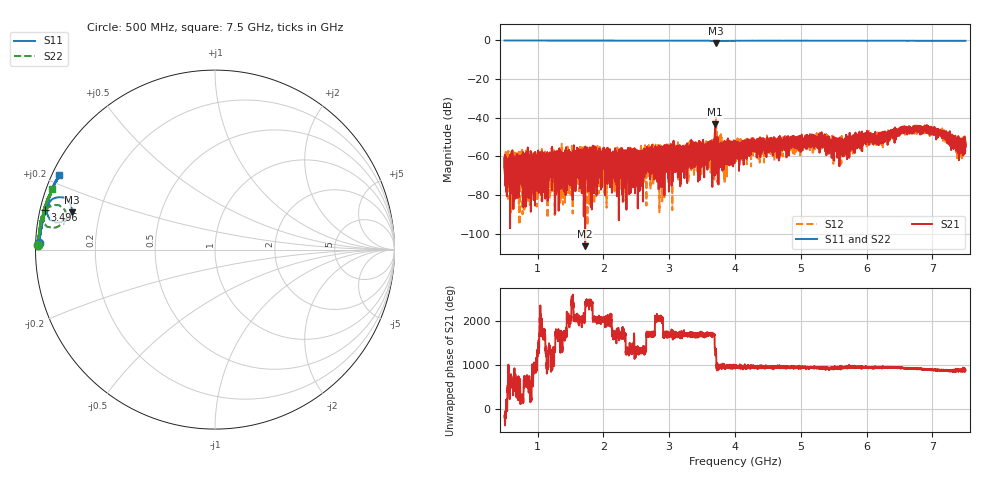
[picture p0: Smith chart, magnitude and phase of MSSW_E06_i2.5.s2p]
!Keysight Technologies,M9374A,MY55442783,A.12.55.05
!Date: Thursday, May 20, 2021 14:27:18
!Correction: S11(Full 2 Port(1,2))
!S21(Full 2 Port(1,2))
!S12(Full 2 Port(1,2))
!S22(Full 2 Port(1,2))
!S2P File: Measurements: S11, S21, S12, S22:
# Hz S  RI  R 50
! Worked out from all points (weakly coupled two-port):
!   7001 points, 500 MHz to 7.5 GHz, reference 50 ohm
!   highest |S21| = -43.39 dB at 3.699 GHz (marker M1); lowest = -106.5 dB at 1.724 GHz (marker M2)
!   lowest |S11| = -1.7 dB at 3.705 GHz (marker M3), VSWR 10.26, Z = 4.95 + j6.35 ohm
!   |S11| at or under -10 dB: nowhere
!   |S22| runs from -1.5 to -0.1 dB; largest |S21 - S12| = 0.01
!   S11 on the Smith chart (normalised r, x): 500 MHz: 0.01, +0.02; 3.496 GHz: 0.01, +0.12; 7.5 GHz: 0.02, +0.23
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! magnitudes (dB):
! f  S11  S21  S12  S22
! 500 MHz  -0.2  -67.1  -69.2  -0.1
! 627 MHz  -0.2  -63.7  -65.0  -0.1
! 1.084 GHz  -0.2  -64.2  -61.0  -0.1
! 1.212 GHz  -0.2  -61.6  -66.4  -0.1
! 1.405 GHz  -0.2  -64.8  -65.6  -0.1
! 1.667 GHz  -0.2  -58.5  -63.6  -0.1
! 1.724 GHz  -0.2  -106.5  -57.1  -0.1
! 1.973 GHz  -0.2  -58.4  -57.0  -0.2
! 2.318 GHz  -0.2  -59.1  -60.6  -0.1
! 2.834 GHz  -0.2  -62.0  -64.4  -0.1
! 3.496 GHz  -0.2  -58.9  -56.0  -0.2
! 3.653 GHz  -0.4  -53.2  -51.5  -0.3
! 3.699 GHz  -1.4  -43.4  -50.1  -1.2
! 3.705 GHz  -1.7  -53.8  -45.2  -1.5
! 3.778 GHz  -0.4  -59.3  -50.8  -0.3
! 3.844 GHz  -0.4  -54.1  -52.1  -0.3
! 4 GHz  -0.3  -55.2  -55.6  -0.2
! 5.167 GHz  -0.3  -50.6  -49.8  -0.2
! 5.583 GHz  -0.3  -56.8  -52.9  -0.2
! 6.334 GHz  -0.3  -48.7  -48.5  -0.2
! 6.904 GHz  -0.3  -46.6  -47.0  -0.3
! 7.5 GHz  -0.3  -54.4  -54.0  -0.3
